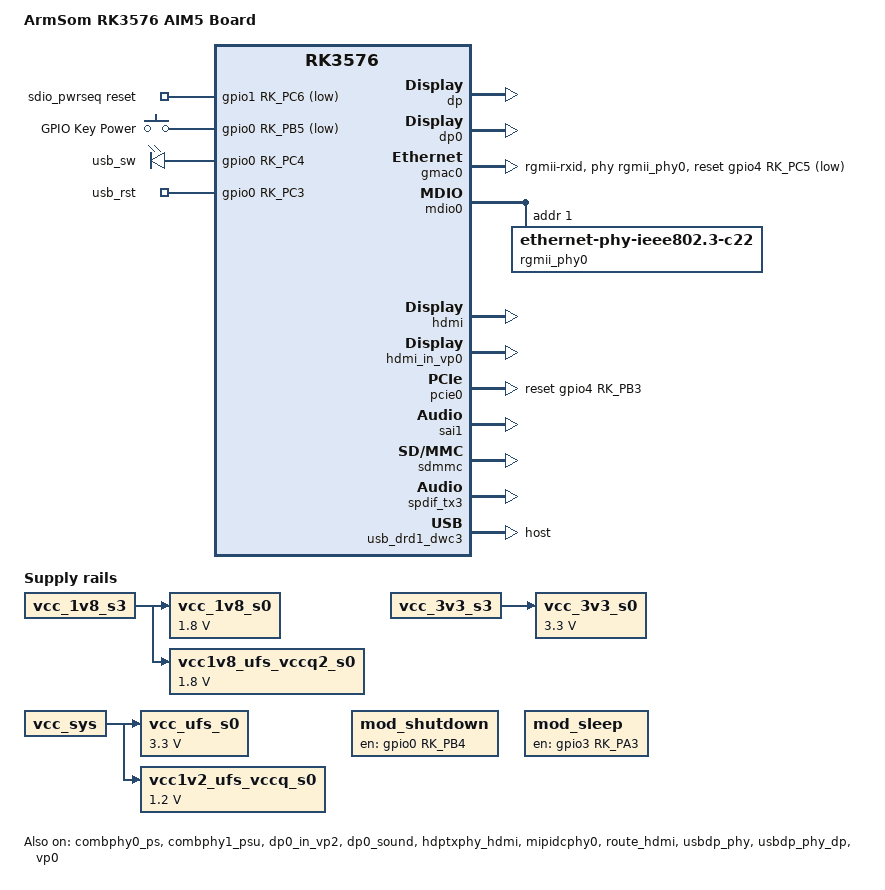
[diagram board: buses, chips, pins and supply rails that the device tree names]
// SPDX-License-Identifier: (GPL-2.0+ OR MIT)
/*
 * Copyright (c) 2024 Rockchip Electronics Co., Ltd.
 *
 */

/dts-v1/;

#include <dt-bindings/usb/pd.h>
#include "rk3576.dtsi"
#include "rk3576-evb.dtsi"
#include "rk3576-rk806.dtsi"
#include "rk3576-linux.dtsi"
// #include "rk3576-armsom-cm5-display.dtsi"
// #include "rk3576-armsom-cm5-camera.dtsi"

/ {
	model = "ArmSom RK3576 AIM5 Board";
	compatible = "rockchip,rk3576-armsom-aim5-io", "rockchip,rk3576";

	pdmics: dummy-codec {
		status = "disabled";
		compatible = "rockchip,dummy-codec";
		#sound-dai-cells = <0>;
	};

	pdm_mic_array: pdm-mic-array {
		status = "disabled";
		compatible = "simple-audio-card";
		simple-audio-card,name = "rockchip,pdm-mic-array";
		simple-audio-card,cpu {
			sound-dai = <&pdm1>;
		};
		simple-audio-card,codec {
			sound-dai = <&pdmics>;
		};
	};

    sdio_pwrseq: sdio-pwrseq {
		compatible = "mmc-pwrseq-simple";
		pinctrl-names = "default";
		pinctrl-0 = <&wifi_poweren_gpio>;

		/*
		 * On the module itself this is one of these (depending
		 * on the actual card populated):
		 * - SDIO_RESET_L_WL_REG_ON
		 * - PDN (power down when low)
		 */
		post-power-on-delay-ms = <200>;
		reset-gpios = <&gpio1 RK_PC6 GPIO_ACTIVE_LOW>;
		status = "okay";
	};

	vcc_1v8_s0: vcc-1v8-s0 {
		compatible = "regulator-fixed";
		regulator-name = "vcc_1v8_s0";
		regulator-boot-on;
		regulator-always-on;
		regulator-min-microvolt = <1800000>;
		regulator-max-microvolt = <1800000>;
		vin-supply = <&vcc_1v8_s3>;
	};

	vcc_3v3_s0: vcc-3v3-s0 {
		compatible = "regulator-fixed";
		regulator-name = "vcc_3v3_s0";
		regulator-boot-on;
		regulator-always-on;
		regulator-min-microvolt = <3300000>;
		regulator-max-microvolt = <3300000>;
		vin-supply = <&vcc_3v3_s3>;
	};

	vcc_ufs_s0: vcc-ufs-s0 {
		compatible = "regulator-fixed";
		regulator-name = "vcc_ufs_s0";
		regulator-boot-on;
		regulator-always-on;
		regulator-min-microvolt = <3300000>;
		regulator-max-microvolt = <3300000>;
		vin-supply = <&vcc_sys>;
	};

	vcc1v8_ufs_vccq2_s0: vcc1v8-ufs-vccq2-s0 {
		compatible = "regulator-fixed";
		regulator-name = "vcc1v8_ufs_vccq2_s0";
		regulator-boot-on;
		regulator-always-on;
		regulator-min-microvolt = <1800000>;
		regulator-max-microvolt = <1800000>;
		vin-supply = <&vcc_1v8_s3>;
	};

	vcc1v2_ufs_vccq_s0: vcc1v2-ufs-vccq-s0 {
		compatible = "regulator-fixed";
		regulator-name = "vcc1v2_ufs_vccq_s0";
		regulator-boot-on;
		regulator-always-on;
		regulator-min-microvolt = <1200000>;
		regulator-max-microvolt = <1200000>;
		vin-supply = <&vcc_sys>;
	};

	// vcc5v0_host: vcc5v0-host {
	// 	compatible = "regulator-fixed";
	// 	regulator-name = "vcc5v0_host";
	// 	regulator-boot-on;
	// 	regulator-always-on;
	// 	regulator-min-microvolt = <5000000>;
	// 	regulator-max-microvolt = <5000000>;
	// 	enable-active-high;
	// 	gpio = <&gpio0 RK_PC7 GPIO_ACTIVE_HIGH>;
	// 	vin-supply = <&vcc5v0_device>;
	// 	pinctrl-names = "default";
	// 	pinctrl-0 = <&usb_host_pwren>;
	// };

	// vbus5v0_typec: vbus5v0-typec {
	// 	compatible = "regulator-fixed";
	// 	regulator-name = "vbus5v0_typec";
	// 	regulator-min-microvolt = <5000000>;
	// 	regulator-max-microvolt = <5000000>;
	// 	enable-active-high;
	// 	gpio = <&gpio0 RK_PD1 GPIO_ACTIVE_HIGH>;
	// 	vin-supply = <&vcc5v0_device>;
	// 	pinctrl-names = "default";
	// 	pinctrl-0 = <&usb_otg0_pwren>;
	// };
	gpio-keys {
		compatible = "gpio-keys";
		#address-cells = <1>;
		#size-cells = <0>;
		autorepeat;

		pinctrl-names = "default";
		pinctrl-0 = <&pwrbtn>;

		button@0 {
			gpios = <&gpio0 RK_PB5 GPIO_ACTIVE_LOW>;
			linux,code = <116>;
			label = "GPIO Key Power";
			linux,input-type = <1>;
			gpio-key,wakeup = <1>;
			debounce-interval = <100>;
		};
	};

	mod_shutdown: mod_shutdown {
		status = "okay";
		compatible = "regulator-fixed";
		regulator-name = "mod_shutdown";
		pinctrl-names = "default";
		pinctrl-0 = <&mod_shutdown_h>;
		gpio = <&gpio0 RK_PB4 GPIO_ACTIVE_HIGH>;
		regulator-always-on;
		regulator-boot-on;
		enable-active-high;
		regulator-state-mem {
		regulator-off-in-suspend;
		};
	};

	mod_sleep: mod_sleep {
		status = "okay";
		compatible = "regulator-fixed";
		regulator-name = "mod_sleep";
		pinctrl-names = "default";
		pinctrl-0 = <&mod_sleep_h>;
		gpio = <&gpio3 RK_PA3 GPIO_ACTIVE_HIGH>;
		regulator-always-on;
		regulator-boot-on;
		enable-active-high;
		regulator-state-mem {
		regulator-off-in-suspend;
		};
	};

	leds: leds {
        compatible = "gpio-leds";
        usbpcie_sw: usbpcie_sw {
            label = "usb_sw";
            gpios = <&gpio0 RK_PC4 GPIO_ACTIVE_HIGH>;
            linux,default-trigger = "default-off";
            default-state = "on";
        };
		usbpcie_rst: usbpcie_rst {
            label = "usb_rst";
            gpios = <&gpio0 RK_PC3 GPIO_ACTIVE_HIGH>;
            linux,default-trigger = "default-off";
            default-state = "on";
        };
	};

	// hub_reset: hub_reset {
	// 	status = "okay";
	// 	compatible = "regulator-fixed";
	// 	regulator-name = "hub_reset";
	// 	pinctrl-names = "default";
	// 	pinctrl-0 = <&hub_reset_h>;
	// 	gpio = <&gpio0 RK_PC3 GPIO_ACTIVE_HIGH>;
	// 	regulator-always-on;
	// 	regulator-boot-on;
	// 	enable-active-high;
	// 	regulator-state-mem {
	// 	regulator-off-in-suspend;
	// 	};
	// };

};

&combphy0_ps {
	status = "okay";
};

&combphy1_psu {
	status = "okay";
};

&dp {
	status = "okay";
};

&dp0 {
	pinctrl-0 = <&dpm0_pins>;
	pinctrl-names = "default";
	status = "okay";
};

&dp0_in_vp2 {
	status = "okay";
};

&dp0_sound {
	status = "okay";
};

&gmac0 {
	/* Use rgmii-rxid mode to disable rx delay inside Soc */
	phy-mode = "rgmii-rxid";
	clock_in_out = "output";

	snps,reset-gpio = <&gpio4 RK_PC5 GPIO_ACTIVE_LOW>;
	snps,reset-active-low;
	/* Reset time is 20ms, 100ms for rtl8211f */
	snps,reset-delays-us = <0 20000 100000>;

	pinctrl-names = "default";
	pinctrl-0 = <&eth0m0_miim
		     &eth0m0_tx_bus2
		     &eth0m0_rx_bus2
		     &eth0m0_rgmii_clk
		     &eth0m0_rgmii_bus
		     &ethm0_clk0_25m_out>;

	tx_delay = <0x21>;
	/* rx_delay = <0x3f>; */

	phy-handle = <&rgmii_phy0>;
	status = "okay";
};

&mdio0 {
	rgmii_phy0: phy@1 {
		compatible = "ethernet-phy-ieee802.3-c22";
		reg = <0x1>;
		clocks = <&cru REFCLKO25M_GMAC0_OUT>;
	};
};

/*
 * mipidcphy0 needs to be enabled
 * when dsi is enabled
 */

&hdmi {
	status = "okay";
	rockchip,sda-falling-delay-ns = <360>;
};

&hdmi_in_vp0 {
	status = "okay";
};

&hdptxphy_hdmi {
	status = "okay";
};


&mipidcphy0 {
	status = "okay";
};

&pcie0 {
	reset-gpios = <&gpio4 RK_PB3 GPIO_ACTIVE_HIGH>;
	//vpcie3v3-supply = <&vcc3v3_pcie0>;
	status = "okay";
};

&pdm1 {
	status = "disabled";
	pinctrl-names = "default";
	pinctrl-0 = <&pdm1m1_clk0
		     &pdm1m1_clk1
		     &pdm1m1_sdi0
		     &pdm1m1_sdi1
		     &pdm1m1_sdi2
		     &pdm1m1_sdi3>;
};

&pinctrl {
	cam {
		mipicsi0_pwr: mipicsi0-pwr {
			rockchip,pins =
				/* camera power en */
				<3 RK_PB0 RK_FUNC_GPIO &pcfg_pull_none>;
		};

		mipicsi1_pwr: mipicsi1-pwr {
			rockchip,pins =
				/* camera power en */
				<3 RK_PC5 RK_FUNC_GPIO &pcfg_pull_none>;
		};

		mipidcphy0_pwr: mipidcphy0-pwr {
			rockchip,pins =
				/* camera power en */
				<3 RK_PC6 RK_FUNC_GPIO &pcfg_pull_none>;
		};
	};

	headphone {
		hp_det: hp-det {
			rockchip,pins = <0 RK_PD3 RK_FUNC_GPIO &pcfg_pull_up>;
		};
	};

	usb {
		usb_host_pwren: usb-host-pwren {
			rockchip,pins = <0 RK_PC7 RK_FUNC_GPIO &pcfg_pull_none>;
		};

		usb_otg0_pwren: usb-otg0-pwren {
			rockchip,pins = <0 RK_PD1 RK_FUNC_GPIO &pcfg_pull_none>;
		};

		usbc0_int: usbc0-int {
			rockchip,pins = <0 RK_PA5 RK_FUNC_GPIO &pcfg_pull_up>;
		};
	};

	gpio {
		pwrbtn: pwrbtn {
			rockchip,pins = <0 RK_PB5 RK_FUNC_GPIO &pcfg_pull_up>;
		};
		mod_shutdown_h: mod-shutdown-h {
			rockchip,pins = <0 RK_PB4 RK_FUNC_GPIO &pcfg_pull_none>;
		};
		mod_sleep_h: mod-sleep-h {
			rockchip,pins = <3 RK_PA3 RK_FUNC_GPIO &pcfg_pull_none>;
		};
		// hub_reset_h: hub-reset-h {
		// 	rockchip,pins = <0 RK_PC3 RK_FUNC_GPIO &pcfg_pull_none>;
		// };
	};

	wireless-bluetooth {
		uart4_gpios: uart4-gpios {
			rockchip,pins = <1 RK_PC2 RK_FUNC_GPIO &pcfg_pull_none>;
		};
	};

	wireless-wlan {
		wifi_host_wake_irq: wifi-host-wake-irq {
			rockchip,pins = <0 RK_PB0 RK_FUNC_GPIO &pcfg_pull_down>;
		};

		wifi_poweren_gpio: wifi-poweren-gpio {
			rockchip,pins = <1 RK_PC6 RK_FUNC_GPIO &pcfg_pull_up>;
		};
	};
};

&route_hdmi {
	status = "okay";
	connect = <&vp0_out_hdmi>;
};

&sai1 {
	status = "okay";
	pinctrl-names = "default";
	pinctrl-0 = <&sai1m0_lrck
		     &sai1m0_sclk
		     &sai1m0_sdi0
		     &sai1m0_sdo0>;
};

&sdio {
	max-frequency = <200000000>;
	no-sd;
	no-mmc;
	bus-width = <4>;
	disable-wp;
	cap-sd-highspeed;
	cap-sdio-irq;
	keep-power-in-suspend;
	mmc-pwrseq = <&sdio_pwrseq>;
	non-removable;
	pinctrl-names = "default";
	pinctrl-0 = <&sdmmc1m0_bus4 &sdmmc1m0_clk &sdmmc1m0_cmd>;
	sd-uhs-sdr104;
	status = "disabled";
};

&sdmmc {
	status = "okay";
};

&spdif_tx3 {
	status = "okay";
};

&ufs {
	status = "disabled";
};

&u2phy0_otg {
	rockchip,typec-vbus-det;
};

&u2phy1_otg {
	//phy-supply = <&vcc5v0_host>;
};

&usbdp_phy {
	rockchip,dp-lane-mux = <0 1 2 3>;
	status = "okay";
};

&usbdp_phy_dp {
	status = "okay";
};

&usbdp_phy_u3 {
	//maximum-speed = "high-speed";
	status = "disabled";
};

&usb_drd0_dwc3 {
	status = "disabled";
};

&usb_drd1_dwc3 {
	dr_mode = "host";
	status = "okay";
};

&vp0 {
	status = "okay";
};
